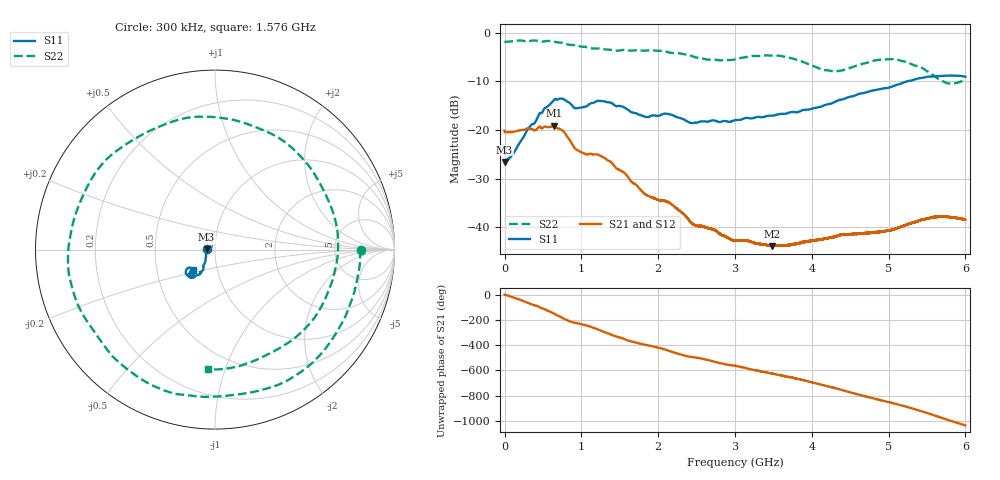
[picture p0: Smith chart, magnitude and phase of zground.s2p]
!  8/6/2020  01:54:00
! Ref Plane: 0.000 mm
# MHZ S MA R  50
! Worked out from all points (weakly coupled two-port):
!   10001 points, 300 kHz to 6 GHz, reference 50 ohm
!   highest |S21| = -19.08 dB at 647.7 MHz (marker M1); lowest = -43.9 dB at 3.485 GHz (marker M2)
!   lowest |S11| = -26.6 dB at 300 kHz (marker M3), VSWR 1.10, Z = 45.5 + j0.0845 ohm
!   |S11| at or under -10 dB: start of sweep to 5.239 GHz
!   |S22| runs from -10.5 to -1.6 dB; largest |S21 - S12| = 0.0024
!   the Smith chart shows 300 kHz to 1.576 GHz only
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0.3  0.04696 178.9  0.09888 -1.0  0.09657 -0.7  0.8158 -0.3
331.4834  0.1093 -125.8  0.1032 -72.6  0.1033 -72.6  0.8234 -96.5
647.6676  0.2057 -130.1  0.1112 -151.8  0.1113 -152.0  0.8077 172.7
1000.45  0.1702 -135.8  0.0591 124.5  0.05908 124.4  0.7206 73.2
1258.437  0.1991 -134.4  0.05375 72.9  0.0538 72.8  0.6852 -1.6
1545.223  0.1729 -136.0  0.03707 10.6  0.03702 10.5  0.6661 -84.8
1788.811  0.1406 -126.7  0.0235 -33.4  0.02351 -33.4  0.657 -151.6
2000.6  0.1401 -114.7  0.01912 -61.4  0.01916 -61.5  0.6533 152.6
2260.987  0.1345 -110.2  0.01515 -108.5  0.01517 -108.5  0.6188 84.5
2539.973  0.1221 -91.6  0.01031 -143.5  0.01033 -143.6  0.5537 6.4
2780.561  0.1215 -80.8  0.008863 -179.8  0.008878 -179.8  0.5239 -66.6
3000.15  0.1264 -67.0  0.007289 155.5  0.00735 155.7  0.5326 -133.2
3224.539  0.1322 -58.3  0.007037 125.0  0.007091 125.6  0.5776 166.2
3484.926  0.1407 -44.9  0.00641 93.4  0.006525 93.6  0.5832 102.3
3772.311  0.1532 -32.1  0.006707 58.7  0.006674 58.2  0.5383 33.4
4000.3  0.1658 -22.9  0.007307 25.0  0.007381 25.8  0.4609 -28.8
4224.089  0.1855 -13.0  0.007833 -8.5  0.0078 -8.3  0.4091 -100.0
4487.476  0.2191 -6.3  0.008435 -52.0  0.008494 -52.1  0.4321 174.3
4762.862  0.252 -2.1  0.008801 -96.0  0.008789 -95.8  0.5043 101.0
5000.45  0.2729 2.1  0.009329 -132.2  0.009299 -131.9  0.5346 46.2
5513.424  0.3541 3.0  0.01236 139.5  0.01234 139.6  0.3977 -74.3
6000  0.3536 -1.6  0.01201 43.5  0.01203 43.6  0.337 118.4
